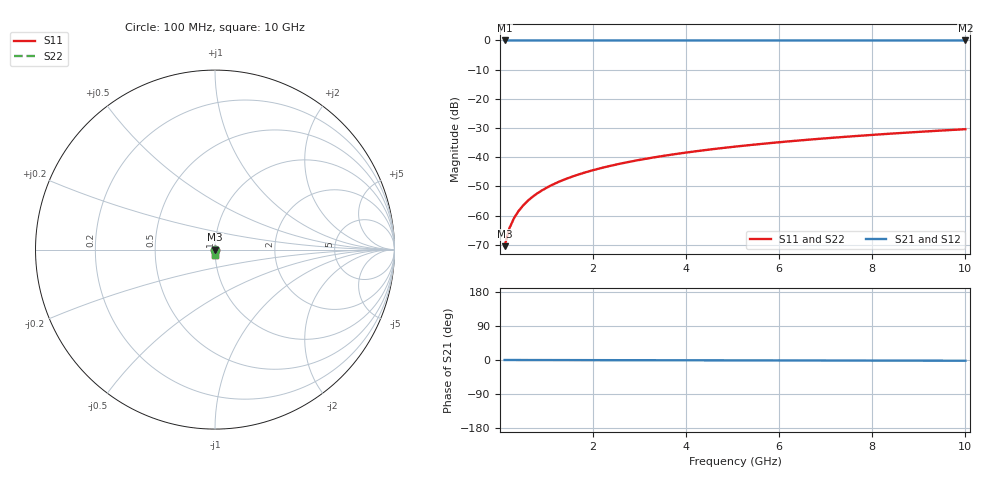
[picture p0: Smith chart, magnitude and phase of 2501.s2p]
# Hz S RI R 50.00
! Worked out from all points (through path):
!   100 points, 100 MHz to 10 GHz, reference 50 ohm
!   highest |S21| = 0.00 dB at 100 MHz (marker M1); lowest = 0.0 dB at 10 GHz (marker M2)
!   lowest |S11| = -70.5 dB at 100 MHz (marker M3), VSWR 1.00, Z = 50 - j0.0299 ohm
!   |S11| at or under -10 dB: start of sweep to end of sweep
!   |S22| runs from -70.5 to -30.4 dB; largest |S21 - S12| = 0
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1e8  4.57e-06 -0.000299  1 -0.00033  1 -0.00033  4.57e-06 -0.000299
2e8  4.01e-06 -0.000599  1 -0.00066  1 -0.00066  4.01e-06 -0.000599
3e8  3.23e-06 -0.000898  1 -0.00099  1 -0.00099  3.23e-06 -0.000898
4e8  2.25e-06 -0.0012  1 -0.00132  1 -0.00132  2.25e-06 -0.0012
5e8  1.07e-06 -0.0015  1 -0.00165  1 -0.00165  1.07e-06 -0.0015
6e8  -3.07e-07 -0.0018  1 -0.00198  1 -0.00198  -3.07e-07 -0.0018
7e8  -1.89e-06 -0.0021  1 -0.00231  1 -0.00231  -1.89e-06 -0.0021
8e8  -3.66e-06 -0.0024  1 -0.00264  1 -0.00264  -3.66e-06 -0.0024
9e8  -5.64e-06 -0.0027  1 -0.00297  1 -0.00297  -5.64e-06 -0.0027
1.1e9  -1.02e-05 -0.00329  1 -0.00363  1 -0.00363  -1.02e-05 -0.00329
1.4e9  -1.85e-05 -0.00419  1 -0.00462  1 -0.00462  -1.85e-05 -0.00419
1.8e9  -3.24e-05 -0.00539  1 -0.00595  1 -0.00595  -3.24e-05 -0.00539
2.1e9  -4.49e-05 -0.00629  0.9999 -0.00694  0.9999 -0.00694  -4.49e-05 -0.00629
2.5e9  -6.44e-05 -0.0075  0.9999 -0.00827  0.9999 -0.00827  -6.44e-05 -0.0075
2.9e9  -8.71e-05 -0.0087  0.9999 -0.00959  0.9999 -0.00959  -8.71e-05 -0.0087
3.4e9  -0.00012 -0.0102  0.9999 -0.0113  0.9999 -0.0113  -0.00012 -0.0102
4.2e9  -0.000183 -0.0126  0.9998 -0.0139  0.9998 -0.0139  -0.000183 -0.0126
5.1e9  -0.000269 -0.0153  0.9997 -0.0169  0.9997 -0.0169  -0.000269 -0.0153
5.9e9  -0.00036 -0.0177  0.9996 -0.0196  0.9996 -0.0196  -0.00036 -0.0177
6.7e9  -0.000464 -0.0202  0.9995 -0.0222  0.9995 -0.0222  -0.000464 -0.0202
8.4e9  -0.000728 -0.0253  0.9993 -0.0279  0.9993 -0.0279  -0.000728 -0.0253
1e10  -0.00103 -0.0302  0.999 -0.0333  0.999 -0.0333  -0.00103 -0.0302
